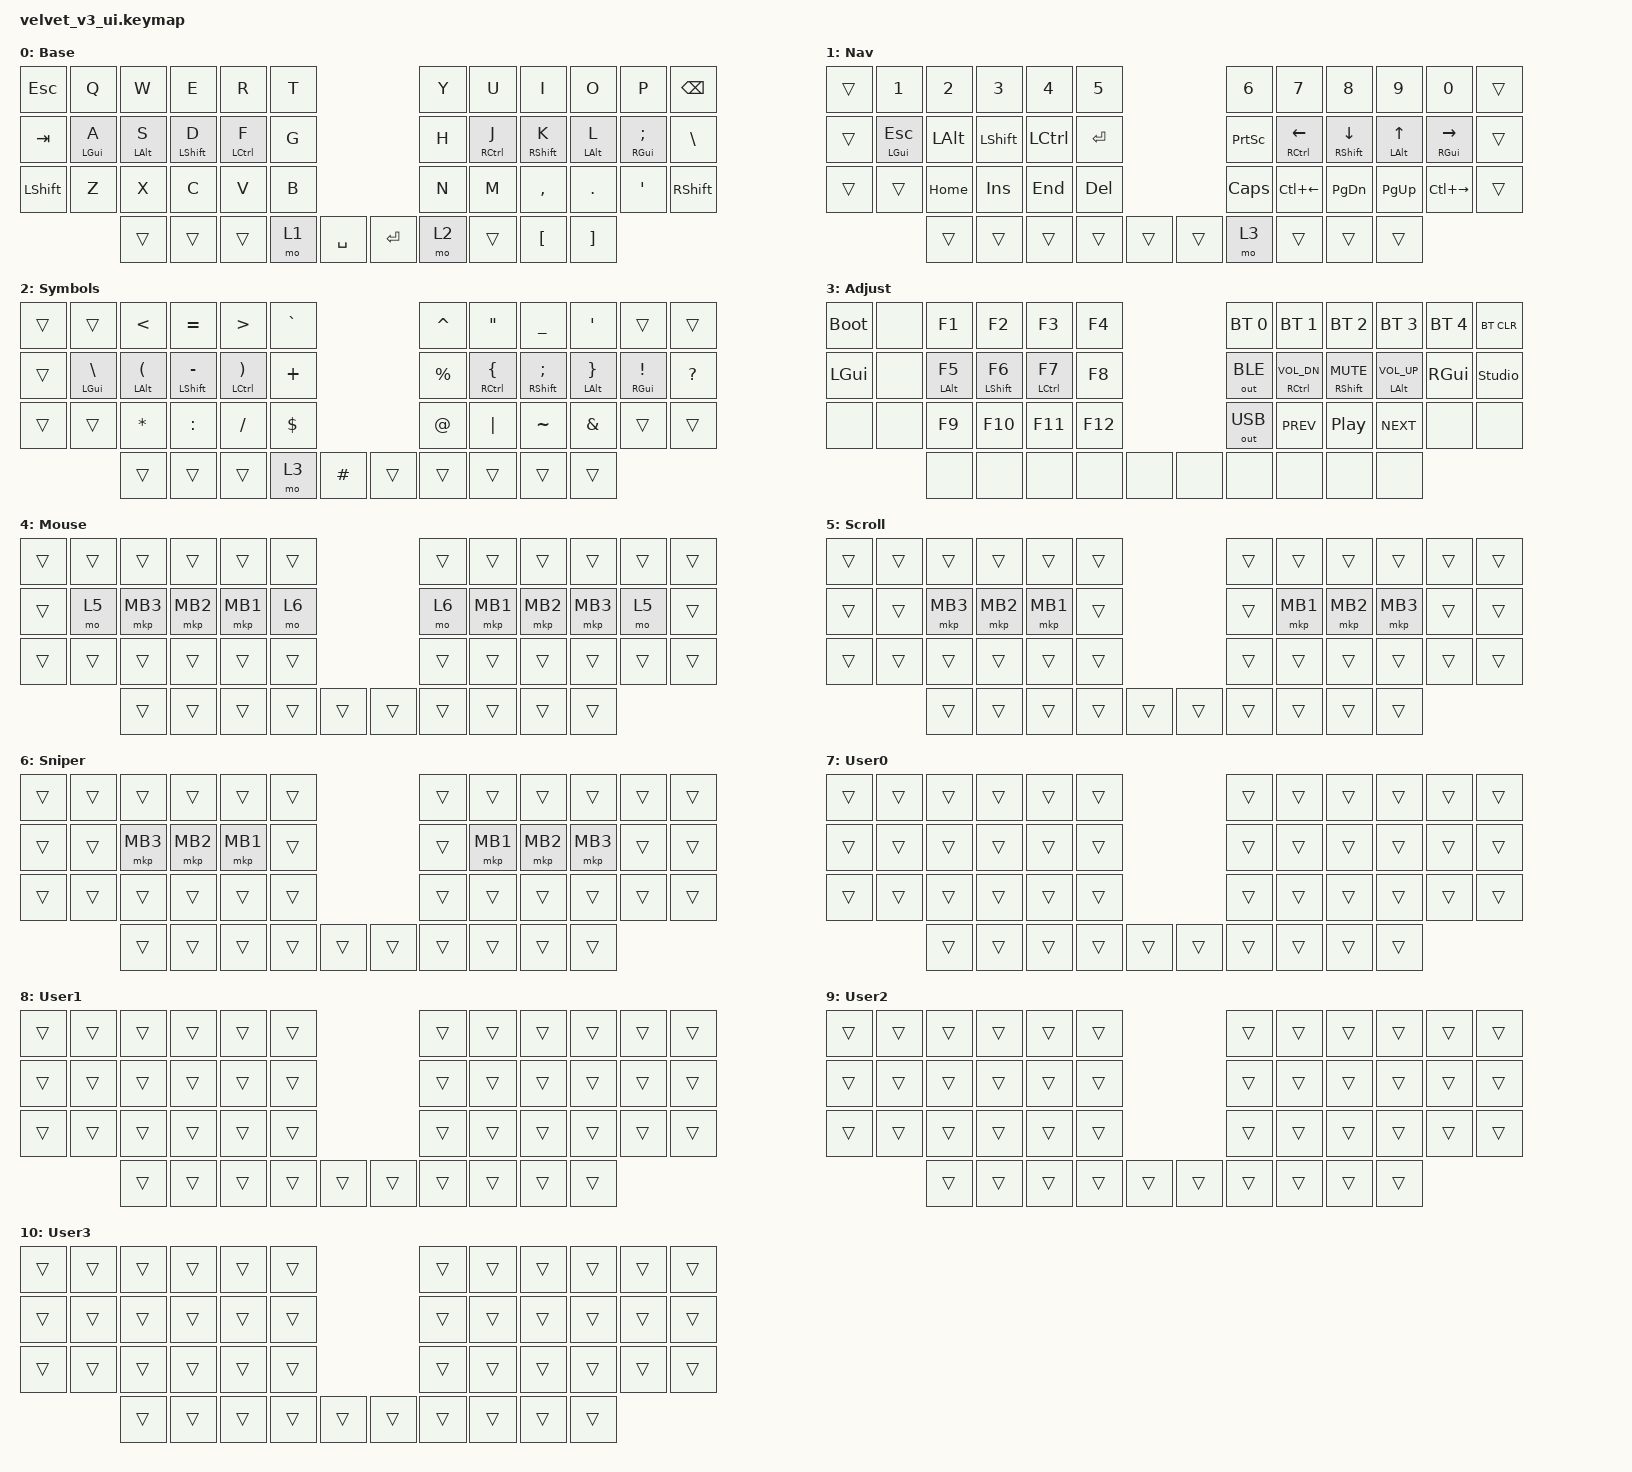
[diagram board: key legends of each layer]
#include "keys_ru.h"
#include <dt-bindings/zmk/input_transform.h>
#include <input/processors.dtsi>
#include <zephyr/dt-bindings/input/input-event-codes.h>
#include <behaviors.dtsi>
#include <dt-bindings/zmk/bt.h>
#include <dt-bindings/zmk/keys.h>
#include <dt-bindings/zmk/outputs.h>
#include <dt-bindings/zmk/pointing.h>

&mt {
    quick-tap-ms = <200>;
    flavor = "tap-preferred";
    require-prior-idle-ms = <125>;
};

/ {
    behaviors {
        hml: home_row_mod_left {
            compatible = "zmk,behavior-hold-tap";
            #binding-cells = <2>;
            flavor = "balanced";
            require-prior-idle-ms = <150>;
            tapping-term-ms = <280>;
            quick-tap-ms = <175>;
            bindings = <&kp>, <&kp>;
            hold-trigger-key-positions = <6 7 8 9 10 11 18 19 20 21 22 23 30 31 32 33 34 35 41 42 43 44 45>;
            hold-trigger-on-release;
        };

        hmr: home_row_mod_right {
            compatible = "zmk,behavior-hold-tap";
            #binding-cells = <2>;
            flavor = "balanced";
            require-prior-idle-ms = <150>;
            tapping-term-ms = <280>;
            quick-tap-ms = <175>;
            bindings = <&kp>, <&kp>;
            hold-trigger-key-positions = <0 1 2 3 4 5 12 13 14 15 16 17 24 25 26 27 28 29 36 37 38 39 40>;
            hold-trigger-on-release;
        };

        cap_sen: cap_sen {
            compatible = "zmk,behavior-hold-tap";
            label = "CAP_SEN";
            bindings = <&mo>, <&mkp>;

            #binding-cells = <2>;
            tapping-term-ms = <150>;
            hold-while-undecided;
        };

        mouse_layer: mouse_layer {
            compatible = "zmk,behavior-sticky-key";
            label = "MOUSE_LAYER";
            bindings = <&mo>;
            #binding-cells = <1>;
            release-after-ms = <200>;
        };

        zip_auto_mouse: zip_auto_mouse {
            compatible = "zmk,input-processor-temp-layer";
            #input-processor-cells = <2>;
            require-prior-idle-ms = <800>;
            excluded-positions = <>;
        };
    };

    combos {
        compatible = "zmk,combos";

        kha {
            bindings = <&kp LBKT>;
            key-positions = <7 8>;
        };

        hrdsgn {
            bindings = <&kp RBKT>;
            key-positions = <8 9>;
        };
    };

    keymap {
        compatible = "zmk,keymap";

        base {
            bindings = <
&kp ESC    &kp Q  &kp W     &kp E     &kp R      &kp T                        &kp Y  &kp U  &kp I      &kp O     &kp P     &kp BSPC
&kp TAB    &hml LGUI A  &hml LALT S  &hml LSHFT D  &hml LCTRL F  &kp G                        &kp H  &hmr RCTRL J  &hmr RSHFT K  &hmr LALT L  &hmr RGUI SEMICOLON  &kp BSLH
&kp LSHFT  &kp Z  &kp X     &kp C     &kp V      &kp B                        &kp N  &kp M  &kp COMMA  &kp DOT   &kp SQT   &kp RSHFT
                  &trans    &trans    &trans    &mo 1  &kp SPACE    &kp RET  &mo 2  &trans &kp LBKT   &kp RBKT
            >;

            display-name = "Base";
        };

        nav {
            bindings = <
&trans  &kp N1  &kp N2    &kp N3   &kp N4   &kp N5                     &kp N6    &kp N7        &kp N8         &kp N9       &kp N0         &trans
&trans  &hml LGUI ESC  &kp LALT  &kp LSHFT  &kp LCTRL  &kp ENTER                    &kp PRINTSCREEN  &hmr RCTRL LEFT  &hmr RSHFT DOWN  &hmr LALT UP  &hmr RGUI RIGHT  &trans
&trans  &trans  &kp HOME  &kp INS  &kp END  &kp DEL                    &kp CLCK  &kp LC(LEFT)  &kp PAGE_DOWN  &kp PAGE_UP  &kp LC(RIGHT)  &trans
                &trans    &trans   &trans   &trans   &trans    &trans  &mo 3     &trans        &trans         &trans
            >;

            display-name = "Nav";
        };

        sym {
            bindings = <
&trans  &trans    &kp LT    &kp EQUAL  &kp GT    &kp GRAVE                      &kp CARET  &kp DQT   &kp UNDER  &kp SQT   &trans    &trans
&trans  &hml LGUI BSLH  &hml LALT LPAR  &hml LSHFT MINUS  &hml LCTRL RPAR  &kp PLUS                       &kp PRCNT  &hmr RCTRL LBRC  &hmr RSHFT SEMI  &hmr LALT RBRC  &hmr RGUI EXCL  &kp QUESTION
&trans  &trans    &kp STAR  &kp COLON  &kp FSLH  &kp DLLR                       &kp AT     &kp PIPE  &kp TILDE  &kp AMPS  &trans    &trans
                  &trans    &trans     &trans    &mo 3      &kp HASH    &trans  &trans     &trans    &trans     &trans
            >;

            display-name = "Symbols";
        };

        adj {
            bindings = <
&bootloader  &none  &kp F1  &kp F2   &kp F3   &kp F4                   &bt BT_SEL 0  &bt BT_SEL 1  &bt BT_SEL 2      &bt BT_SEL 3  &bt BT_SEL 4  &bt BT_CLR
&kp LGUI     &none  &hml LALT F5  &hml LSHFT F6  &hml LCTRL F7  &kp F8                   &out OUT_BLE  &hmr RCTRL C_VOL_DN  &hmr RSHFT C_MUTE  &hmr LALT C_VOL_UP  &kp RGUI     &studio_unlock
&none        &none  &kp F9  &kp F10  &kp F11  &kp F12                  &out OUT_USB  &kp C_PREV    &kp C_PLAY_PAUSE  &kp C_NEXT    &none         &none
                    &none   &none    &none    &none    &none    &none  &none         &none         &none             &none
            >;

            display-name = "Adjust";
        };

        mouse {
            bindings = <
&trans  &trans  &trans    &trans    &trans    &trans                    &trans  &trans    &trans    &trans    &trans  &trans
&trans  &mo 5   &mkp MB3  &mkp MB2  &mkp MB1  &mo 6                     &mo 6   &mkp MB1  &mkp MB2  &mkp MB3  &mo 5   &trans
&trans  &trans  &trans    &trans    &trans    &trans                    &trans  &trans    &trans    &trans    &trans  &trans
                &trans    &trans    &trans    &trans  &trans    &trans  &trans  &trans    &trans    &trans
            >;

            display-name = "Mouse";
        };

        scroll {
            bindings = <
&trans  &trans  &trans    &trans    &trans    &trans                    &trans  &trans    &trans    &trans    &trans  &trans
&trans  &trans  &mkp MB3  &mkp MB2  &mkp MB1  &trans                    &trans  &mkp MB1  &mkp MB2  &mkp MB3  &trans  &trans
&trans  &trans  &trans    &trans    &trans    &trans                    &trans  &trans    &trans    &trans    &trans  &trans
                &trans    &trans    &trans    &trans  &trans    &trans  &trans  &trans    &trans    &trans
            >;

            display-name = "Scroll";
        };

        sniper {
            bindings = <
&trans  &trans  &trans    &trans    &trans    &trans                    &trans  &trans    &trans    &trans    &trans  &trans
&trans  &trans  &mkp MB3  &mkp MB2  &mkp MB1  &trans                    &trans  &mkp MB1  &mkp MB2  &mkp MB3  &trans  &trans
&trans  &trans  &trans    &trans    &trans    &trans                    &trans  &trans    &trans    &trans    &trans  &trans
                &trans    &trans    &trans    &trans  &trans    &trans  &trans  &trans    &trans    &trans
            >;

            display-name = "Sniper";
        };

        User0 {
            bindings = <
&trans  &trans  &trans  &trans  &trans  &trans                    &trans  &trans  &trans  &trans  &trans  &trans
&trans  &trans  &trans  &trans  &trans  &trans                    &trans  &trans  &trans  &trans  &trans  &trans
&trans  &trans  &trans  &trans  &trans  &trans                    &trans  &trans  &trans  &trans  &trans  &trans
                &trans  &trans  &trans  &trans  &trans    &trans  &trans  &trans  &trans  &trans
            >;

            display-name = "User0";
        };

        User1 {
            bindings = <
&trans  &trans  &trans  &trans  &trans  &trans                    &trans  &trans  &trans  &trans  &trans  &trans
&trans  &trans  &trans  &trans  &trans  &trans                    &trans  &trans  &trans  &trans  &trans  &trans
&trans  &trans  &trans  &trans  &trans  &trans                    &trans  &trans  &trans  &trans  &trans  &trans
                &trans  &trans  &trans  &trans  &trans    &trans  &trans  &trans  &trans  &trans
            >;

            display-name = "User1";
        };

        User2 {
            bindings = <
&trans  &trans  &trans  &trans  &trans  &trans                    &trans  &trans  &trans  &trans  &trans  &trans
&trans  &trans  &trans  &trans  &trans  &trans                    &trans  &trans  &trans  &trans  &trans  &trans
&trans  &trans  &trans  &trans  &trans  &trans                    &trans  &trans  &trans  &trans  &trans  &trans
                &trans  &trans  &trans  &trans  &trans    &trans  &trans  &trans  &trans  &trans
            >;

            display-name = "User2";
        };

        User3 {
            bindings = <
&trans  &trans  &trans  &trans  &trans  &trans                    &trans  &trans  &trans  &trans  &trans  &trans
&trans  &trans  &trans  &trans  &trans  &trans                    &trans  &trans  &trans  &trans  &trans  &trans
&trans  &trans  &trans  &trans  &trans  &trans                    &trans  &trans  &trans  &trans  &trans  &trans
                &trans  &trans  &trans  &trans  &trans    &trans  &trans  &trans  &trans  &trans
            >;

            display-name = "User3";
        };
    };
};

&trackball { cpi = <1000>; };

&trackball_listener {
    input-processors = <&zip_auto_mouse 4 500>, <&zip_xy_scaler 9 20>;

    scroller {
        layers = <5>;
        input-processors =
            <&zip_xy_transform INPUT_TRANSFORM_Y_INVERT>,
            <&zip_xy_scaler 1 32>,
            <&zip_xy_to_scroll_mapper>;
    };

    sniper {
        layers = <6>;
        input-processors = <&zip_xy_scaler 1 4>;
    };
};
